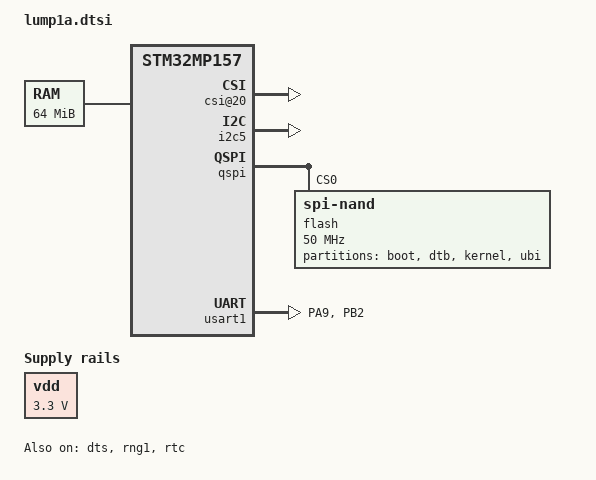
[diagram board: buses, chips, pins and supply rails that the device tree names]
#include "stm32mp157.dtsi"
#include "stm32mp15-pinctrl.dtsi"
#include "stm32mp15xxac-pinctrl.dtsi"
#include <dt-bindings/gpio/gpio.h>

/ {
	compatible = "st,stm32mp1-lump", "st,stm32mp157";

	cpus {
		psci {
			compatible = "arm,psci-0.2";
			method = "smc";
		};
	};
	co-boot {
		hse@10 {
			compatible = "mp1,hse";
			order = <10>;
		};
		csi@20 {
			compatible = "mp1,csicomp";
			order = <20>;
		};
		mtdfix@20 {
			compatible = "cob,mtdfix";
			patch-size-to = <&ubi_part>;
		};
		clocks@40 {
			compatible = "mp1,clocks";
			order = <30>;
			mp1,hse-khz = <24000>;
			mp1,pll1 = <2 42  1 0  0>;
			mp1,pll2 = <2 50  3 0  2>;
			mp1,pll3 = <3 100 6 18 18>;
			mp1,pll4 = <2 50 24 70 20>;
			mp1,apb-divs = <1 1 1 1 2>;
			mp1,rtc-div = <0x18>;
		};
		ddr@90 {
			compatible = "mp1,ddr3";
			patch-size-to = <&main_mem>;
			order = <90>;
		};
		linux@99 {
			compatible = "cob,ldlinux";
			order = <100>;
			boot-flags = <0>;
			enter-shell = <0>;
			linux-img-start = <0x100000>;
		};
	};

	main_mem: memory@c0000000 {
		device_type = "memory";
		reg = <0xc0000000 0x04000000>; // 64MB is minimum
	};

	vdd: fixedregulator1 {
		compatible = "regulator-fixed";
		regulator-name = "vdd";
		regulator-min-microvolt = <3300000>;
		regulator-max-microvolt = <3300000>;
		regulator-boot-on;
	};
};

&pinctrl {
	usart1_pins_a: usart1-0 {
		pins1 {
			pinmux = <STM32_PINMUX('A', 9, AF7)>; /* TX */
			bias-disable;
			drive-push-pull;
			slew-rate = <0>;
		};
		pins2 {
			pinmux = <STM32_PINMUX('B', 2, AF4)>; /* RX */
			bias-disable;
		};
	};
};
&pinctrl_z {
	i2c5_pins_z: i2c5-z {
		pins {
			pinmux = <STM32_PINMUX('Z', 4, AF4)>, /* I2C5_SCL */
				 <STM32_PINMUX('Z', 1, AF4)>; /* I2C5_SDA */
			bias-pull-up;
			drive-open-drain;
			slew-rate = <0>;
		};
	};
};

&i2c5 {
	pinctrl-names = "default";
	pinctrl-0 = <&i2c5_pins_z>;
	i2c-scl-rising-time-ns = <300>;
	i2c-scl-falling-time-ns = <20>;
	status = "okay";
	/delete-property/dmas;
	/delete-property/dma-names;

};

&qspi {
	status = "okay";
	pinctrl-names = "default";
	pinctrl-0 = <&qspi_clk_pins_a>, <&qspi_bk1_pins_a>;
	#address-cells = <1>;
	#size-cells = <0>;
	flash@0 {
		compatible = "spi-nand";
		reg = <0>;
		spi-max-frequency = <50000000>;
		spi-rx-bus-width = <2>;

		partitions {
			 compatible = "fixed-partitions";
			 #address-cells = <1>;
			 #size-cells = <1>;

			partition@000000 {
				label ="boot";
				reg = <0x0000000 0x40000>; /* 256k bootldr */
			};
			partition@000001 {
				label ="dtb";
				reg = <0x0040000 0x40000>; /* 256k dtb */
			};
			partition@010000 {
				label ="kernel";
				reg = <0x0100000 0x400000>; /* 4M kernel */
			};
			ubi_part: partition@500000 {
				label ="ubi";
				reg = <0x0500000 0x3000000>; /* 48M ubi */
			};
		};
	};
};

&dma2 {
	sram = <&dma_pool>;
};

&dts {
	status = "okay";
};

&ipcc {
	status = "okay";
};

&pwr_regulators {
        vdd-supply = <&vdd>;
        vdd_3v3_usbfs-supply = <&vdd>;
};

&usbphyc_port0 {
        phy-supply = <&vdd>;
        vdda1v1-supply = <&reg11>;
        vdda1v8-supply = <&reg18>;
};

&usbphyc_port1 {
        phy-supply = <&vdd>;
        vdda1v1-supply = <&reg11>;
        vdda1v8-supply = <&reg18>;
};

&rng1 {
	status = "okay";
};

&rtc {
	status = "okay";
};

&usart1 {
	pinctrl-names = "default";
	pinctrl-0 = <&usart1_pins_a>;
	status = "okay";
};
